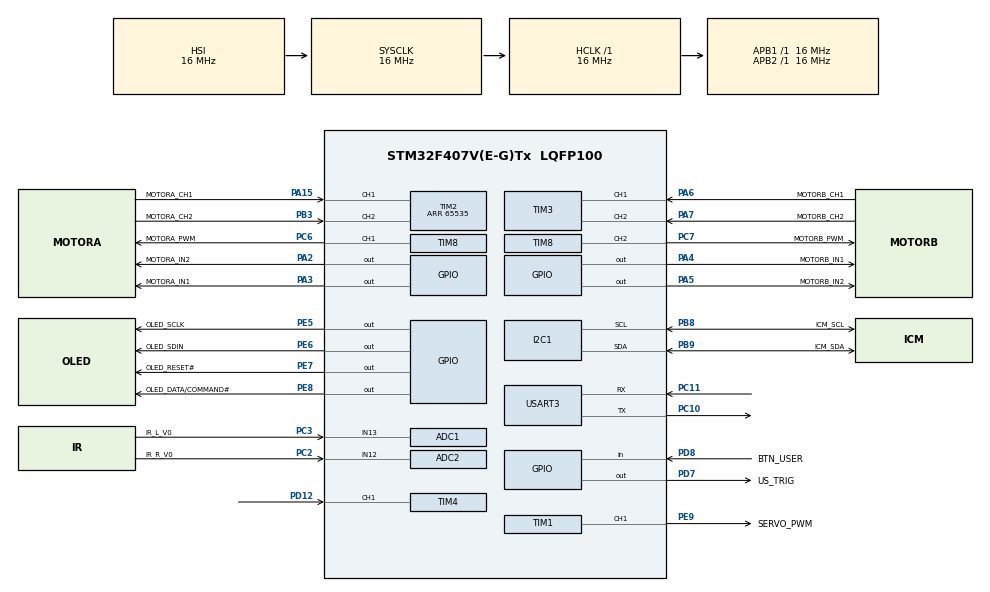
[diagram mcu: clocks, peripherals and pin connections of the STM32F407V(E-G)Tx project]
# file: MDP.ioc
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ADC1.Channel-0\#ChannelRegularConversion=ADC_CHANNEL_13
ADC1.ContinuousConvMode=ENABLE
ADC1.NbrOfConversion=1
ADC1.NbrOfConversionFlag=1
ADC1.Rank-0\#ChannelRegularConversion=1
ADC1.Resolution=ADC_RESOLUTION_12B
ADC1.SamplingTime-0\#ChannelRegularConversion=ADC_SAMPLETIME_3CYCLES
ADC1.ScanConvMode=DISABLE
ADC1.master=1
ADC2.Channel-1\#ChannelRegularConversion=ADC_CHANNEL_12
ADC2.NbrOfConversionFlag=1
ADC2.Rank-1\#ChannelRegularConversion=1
ADC2.SamplingTime-1\#ChannelRegularConversion=ADC_SAMPLETIME_3CYCLES
I2C1.I2C_Mode=I2C_Fast
I2C1.NoStretchMode=I2C_NOSTRETCH_DISABLE
Mcu.Family=STM32F4
Mcu.Name=STM32F407V(E-G)Tx
Mcu.Package=LQFP100
NVIC.ADC_IRQn=true\:0\:0\:false\:false\:true\:true\:true\:true
NVIC.PriorityGroup=NVIC_PRIORITYGROUP_4
NVIC.TIM1_CC_IRQn=true\:0\:0\:false\:false\:true\:true\:true\:true
NVIC.TIM4_IRQn=true\:0\:0\:false\:false\:true\:true\:true\:true
NVIC.TIM7_IRQn=true\:0\:0\:false\:false\:true\:true\:true\:true
NVIC.USART3_IRQn=true\:0\:0\:false\:false\:true\:true\:true\:true
PA13.Signal=SYS_JTMS-SWDIO
PA14.Signal=SYS_JTCK-SWCLK
PA15.GPIO_Label=MOTORA_CH1
PA15.Signal=S_TIM2_CH1_ETR
PA2.GPIO_Label=MOTORA_IN2
PA2.Signal=GPIO_Output
PA3.GPIO_Label=MOTORA_IN1
PA3.Signal=GPIO_Output
PA4.GPIO_Label=MOTORB_IN1
PA4.Signal=GPIO_Output
PA5.GPIO_Label=MOTORB_IN2
PA5.Signal=GPIO_Output
PA6.GPIO_Label=MOTORB_CH1
PA6.Signal=S_TIM3_CH1
PA7.GPIO_Label=MOTORB_CH2
PA7.Signal=S_TIM3_CH2
PB3.GPIO_Label=MOTORA_CH2
PB3.Signal=S_TIM2_CH2
PB8.GPIO_Label=ICM_SCL
PB8.Mode=I2C
PB8.Signal=I2C1_SCL
PB9.GPIO_Label=ICM_SDA
PB9.Mode=I2C
PB9.Signal=I2C1_SDA
PC10.Mode=Asynchronous
PC10.Signal=USART3_TX
PC11.Mode=Asynchronous
PC11.Signal=USART3_RX
PC2.GPIO_Label=IR_R_V0
PC2.Signal=ADCx_IN12
PC3.GPIO_Label=IR_L_V0
PC3.Signal=ADCx_IN13
PC6.GPIO_Label=MOTORA_PWM
PC6.Signal=S_TIM8_CH1
PC7.GPIO_Label=MOTORB_PWM
PC7.Signal=S_TIM8_CH2
PD12.Signal=S_TIM4_CH1
PD7.GPIO_Label=US_TRIG
PD7.Signal=GPIO_Output
PD8.GPIO_Label=BTN_USER
PD8.GPIO_PuPd=GPIO_PULLUP
PD8.Signal=GPIO_Input
PE5.GPIO_Label=OLED_SCLK
PE5.Signal=GPIO_Output
PE6.GPIO_Label=OLED_SDIN
PE6.Signal=GPIO_Output
PE7.GPIO_Label=OLED_RESET\#
PE7.Signal=GPIO_Output
PE8.GPIO_Label=OLED_DATA/COMMAND\#
PE8.Signal=GPIO_Output
PE9.GPIO_Label=SERVO_PWM
PE9.Signal=S_TIM1_CH1
ProjectManager.HeapSize=0x200
ProjectManager.StackSize=0x400
ProjectManager.TargetToolchain=STM32CubeIDE
RCC.AHBFreq_Value=16000000
RCC.APB1Freq_Value=16000000
RCC.APB2Freq_Value=16000000
RCC.APB2TimFreq_Value=16000000
RCC.CortexFreq_Value=16000000
RCC.HSE_VALUE=25000000
RCC.HSI_VALUE=16000000
RCC.LSE_VALUE=32768
RCC.SYSCLKFreq_VALUE=16000000
RCC.VCOOutputFreq_Value=192000000
SH.ADCx_IN12.0=ADC2_IN12,IN12
SH.ADCx_IN13.0=ADC1_IN13,IN13
SH.S_TIM1_CH1.0=TIM1_CH1,PWM Generation1 CH1
SH.S_TIM2_CH1_ETR.0=TIM2_CH1,Encoder_Interface
SH.S_TIM2_CH2.0=TIM2_CH2,Encoder_Interface
SH.S_TIM3_CH1.0=TIM3_CH1,Encoder_Interface
SH.S_TIM3_CH2.0=TIM3_CH2,Encoder_Interface
SH.S_TIM4_CH1.0=TIM4_CH1,Input_Capture1_from_TI1
SH.S_TIM8_CH1.0=TIM8_CH1,PWM Generation1 CH1
SH.S_TIM8_CH2.0=TIM8_CH2,PWM Generation2 CH2
TIM1.Channel-PWM\ Generation1\ CH1=TIM_CHANNEL_1
TIM1.CounterMode=TIM_COUNTERMODE_UP
TIM1.OCMode_PWM-PWM\ Generation1\ CH1=TIM_OCMODE_PWM1
TIM1.Period=64000-1
TIM1.Prescaler=5-1
TIM2.EncoderMode=TIM_ENCODERMODE_TI12
TIM2.IC1Polarity=TIM_ICPOLARITY_RISING
TIM2.IC2Polarity=TIM_ICPOLARITY_RISING
TIM2.Period=65535
TIM3.EncoderMode=TIM_ENCODERMODE_TI12
TIM3.IC1Filter=0
TIM3.IC1Polarity=TIM_ICPOLARITY_RISING
TIM3.IC2Filter=0
TIM3.IC2Polarity=TIM_ICPOLARITY_RISING
TIM4.Channel-Input_Capture1_from_TI1=TIM_CHANNEL_1
TIM4.Period=65536-1
TIM4.Prescaler=16-1
TIM6.Period=65536-1
TIM6.Prescaler=16-1
TIM7.Period=16000-1
TIM7.Prescaler=2-1
TIM8.Channel-PWM\ Generation1\ CH1=TIM_CHANNEL_1
TIM8.Channel-PWM\ Generation2\ CH2=TIM_CHANNEL_2
TIM8.Period=7200-1
USART3.VirtualMode=VM_ASYNC
VP_TIM1_VS_ClockSourceINT.Mode=Internal
VP_TIM4_VS_ClockSourceINT.Mode=Internal
VP_TIM6_VS_ClockSourceINT.Mode=Enable_Timer
VP_TIM7_VS_ClockSourceINT.Mode=Enable_Timer
VP_TIM8_VS_ClockSourceINT.Mode=Internal
board=custom

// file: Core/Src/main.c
/* USER CODE BEGIN Header */
/**
  ******************************************************************************
  * @file           : main.c
  * @brief          : Main program body
  ******************************************************************************
  * @attention
  *
  * Copyright (c) 2024 STMicroelectronics.
  * All rights reserved.
  *
  * This software is licensed under terms that can be found in the LICENSE file
  * in the root directory of this software component.
  * If no LICENSE file comes with this software, it is provided AS-IS.
  *
  ******************************************************************************
  */
/* USER CODE END Header */
#include "main.h"

/* USER CODE BEGIN Includes */
#include <stdlib.h>
#include <math.h>
#include "convert.h"
#include "commands.h"
#include "dist.h"
#include "angle.h"
#include "delay_us.h"
#include "oled.h"
#include "sensors.h"
#include "motor.h"
#include "servo.h"
/* USER CODE END Includes */

/* USER CODE BEGIN PD */
//8MHz / 16000 = 2.0ms frame.
#define MS_FRAME 2.0f
#define SERIAL_BUF_SIZE 20
#define SERIAL_RING_SIZE 1000
#define DIST_DIFF_DEFAULT 50
#define BRAKE_SPEED 20
#define TICKS_ES_MAX 8
/* USER CODE END PD */

ADC_HandleTypeDef hadc1;
ADC_HandleTypeDef hadc2;

I2C_HandleTypeDef hi2c1;

TIM_HandleTypeDef htim1;
TIM_HandleTypeDef htim2;
TIM_HandleTypeDef htim3;
TIM_HandleTypeDef htim4;
TIM_HandleTypeDef htim6;
TIM_HandleTypeDef htim7;
TIM_HandleTypeDef htim8;

UART_HandleTypeDef huart3;

/* USER CODE BEGIN PV */
//sensors variables.
Sensors sensors;
MagCalParams magCalParams;

//serial buffers.
volatile uint16_t ring_i = 0, track_i = 0;
uint16_t buf_i = 0;

uint8_t buf_serial[SERIAL_BUF_SIZE];
uint8_t ring_serial[SERIAL_RING_SIZE];

//ultrasound pulse width measurement.
volatile uint8_t isRisingCaptured = 0;
volatile uint8_t usCaptureComplete = 0;
volatile uint16_t usWrap = 0;
volatile uint32_t counter;

//paced loop.
volatile uint8_t newTick = 0;
/* USER CODE END PV */

void SystemClock_Config(void);
static void MX_GPIO_Init(void);
static void MX_USART3_UART_Init(void);
static void MX_I2C1_Init(void);
static void MX_TIM8_Init(void);
static void MX_TIM2_Init(void);
static void MX_TIM3_Init(void);
static void MX_TIM1_Init(void);
static void MX_TIM4_Init(void);
static void MX_ADC1_Init(void);
static void MX_TIM6_Init(void);
static void MX_TIM7_Init(void);
static void MX_ADC2_Init(void);

/* USER CODE BEGIN 0 */

//increment index in a ring.
static void serial_inc_ring(volatile uint16_t *i) {
	*i = (*i + 1) % SERIAL_RING_SIZE;
}

//serial in.
void HAL_UART_RxCpltCallback(UART_HandleTypeDef *huart) {
	serial_inc_ring(&ring_i);
	HAL_UART_Receive_IT(&huart3, &ring_serial[ring_i], 1);
}

/* --- Start: Timer Management --- */
void HAL_TIM_PeriodElapsedCallback(TIM_HandleTypeDef *htim) {
	if (htim == &htim4) {
		usWrap++;
	}

	else if (htim == &htim7) {
		newTick = 1;
	}
}
void HAL_TIM_IC_CaptureCallback(TIM_HandleTypeDef *htim) {
	if (htim != &htim4) return;

	if (!isRisingCaptured) {
		//rising edge
		usCaptureComplete = 0;

		usWrap = 0;
		__HAL_TIM_SET_COUNTER(htim, 0);

		isRisingCaptured = 1;
		__HAL_TIM_SET_CAPTUREPOLARITY(htim, US_IC_CHANNEL, TIM_INPUTCHANNELPOLARITY_FALLING);
	} else {
		//falling edge
		counter = HAL_TIM_ReadCapturedValue(htim, US_IC_CHANNEL);
		counter += usWrap * 65536;
		sensors_read_usDist((float) counter * 1e-6);

		isRisingCaptured = 0;
		__HAL_TIM_SET_CAPTUREPOLARITY(htim, US_IC_CHANNEL, TIM_INPUTCHANNELPOLARITY_RISING);

		usCaptureComplete = 1;
	}
}
/* --- End: Timer Management --- */

/* USER CODE END 0 */

int main(void)
{

  /* MCU Configuration--------------------------------------------------------*/

  /* Reset of all peripherals, Initializes the Flash interface and the Systick. */
  HAL_Init();

  /* Configure the system clock */
  SystemClock_Config();

  /* Initialize all configured peripherals */
  MX_GPIO_Init();
  MX_USART3_UART_Init();
  MX_I2C1_Init();
  MX_TIM8_Init();
  MX_TIM2_Init();
  MX_TIM3_Init();
  MX_TIM1_Init();
  MX_TIM4_Init();
  MX_ADC1_Init();
  MX_TIM6_Init();
  MX_TIM7_Init();
  MX_ADC2_Init();
  /* USER CODE BEGIN 2 */

  /* ----- Start: Initialize libraries ----- */
  OLED_Init();												//initialize OLED display.
  magcal_init(&hi2c1, &magCalParams);						//initialize magnetometer calibration.
  sensors_init(&hi2c1, &hadc1, &hadc2, &htim4, &sensors); 	//initialize motion sensors.
  motor_init(&htim8, &htim2, &htim3); 						//initialize motor PWM and encoders.
  servo_init(&htim1); 										//initialize servo PWM.
  delay_us_init(&htim6);									//initialize us timer.

  dist_init();												//initialize distance tracking.
  /* ----- End: Initialize libraries ----- */

  /* ----- Start: Car setup ----- */
//  magcal_calc_params();

  //reset car.
  servo_setAngle(0);
  motor_setDrive(0, 0);

//  OLED_ShowString(0, 0, "Press USER when ready...");
//  OLED_Refresh_Gram();
//  while (!user_is_pressed());	//wait for user to place car.
  HAL_Delay(500);
  OLED_Clear();
  OLED_ShowString(0, 0, "Calibrating...");
  OLED_Refresh_Gram();

  sensors_set_bias(500); 		// set initial bias.

  OLED_ShowString(0, 0, "Calibration done.");
  OLED_Refresh_Gram();

  /* ----- End: Car setup ----- */

  /* ----- Start: OS Parameters ----- */
  //ticking for longer timing requirements for ultrasound, and servo turning.
  uint8_t ticksElapsed = 0,
		  ticksUsElapsed = 0,
		  ticksUs = (uint8_t) (US_MIN_DELAY / MS_FRAME) + 1,
		  ticksServo = (uint8_t) (SERVO_TURN_PERIOD / MS_FRAME),
		  ticksServoFull = (uint8_t) (SERVO_TURN_PERIOD * SERVO_WIDTH / SERVO_TURN_STEP) / MS_FRAME,
		  ticksMotor = (uint8_t) (MOTOR_CORRECTION_PERIOD / MS_FRAME),
		  ticksRefresh = lcm_uint8(lcm_uint8(ticksUs, ticksServo), ticksMotor),
		  ticksDelay = ticksServoFull - 1;

  //ticking for error stabilization.
  uint8_t ticksES = 0;

  Command *cmd = NULL;							//current command.
  float steeringAngle = 0;						//current steering angle.
  float motorDist = 0, estDist = 0,
		  estAngle = 0,
		  estDistOld = 0; 						//distance estimations.

  //for distance tracking (for use with INFO_DIST command).
  float distTrack = 0;
  uint8_t shouldTrackDist = 0;

  float distTarget = 0;							//decide distance target.
  float distDiff = 0, brakingDist = 0; 			//current distance difference.
  float distDiffOld = 0;						//track old distance difference (to see if stationary).
  float wDiff = 0, wTarget = 0;					//current angular velocity difference and target.
  float rBack = 0, rRobot = 0;					//turning radii at the back and centre of robot.
  /* ----- End: OS Parameters ----- */

  /* ----- Start: Interrupts ----- */
  HAL_UART_Receive_IT(&huart3, &ring_serial[ring_i], 1);	//start receiving serial.
  HAL_TIM_Base_Start_IT(&htim7);							//start paced loop timer.
  /* ----- End: Interrupts ----- */

  OLED_Clear();
  OLED_ShowString(0, 0, "Active.");
  OLED_Refresh_Gram();

  /* USER CODE END 2 */

  /* Infinite loop */
  while (1)
  {

    /* USER CODE BEGIN 3 */
	/* ----- Start: Sensor reading ----- */
	//trigger distance measurement.
	if (!(ticksElapsed % ticksUs)) {
		sensors_us_trig();
	}

	sensors_read_accel();
	sensors_read_gyroZ();
	sensors_read_irDist();
	/* ----- End: Sensor reading ----- */

	/* ----- Start: Get next command (if any) ----- */
	if (cmd == NULL) {
		if (!ticksDelay) {
			cmd = commands_pop();

			if (cmd != NULL) {
				//perform command setup based on
				switch (cmd->opType) {
					case DRIVE:
						estDistOld = 0;
						estAngle = 0;
						motor_setDrive(cmd->dir, cmd->speed);
						if (cmd->dir != 0) {
							distTarget = cmd->val;
							distDiff = DIST_DIFF_DEFAULT;
							brakingDist = (cmd->distType == TARGET
								? MOTOR_BRAKING_DIST_CM_TARGET
								: MOTOR_BRAKING_DIST_CM_AWAY
							) * cmd->speed / 100;

							steeringAngle = cmd->steeringAngle;
							servo_setAngle(steeringAngle);
							if (steeringAngle != 0) {
								rBack = get_turning_r_back_cm(steeringAngle);
								rRobot = get_turning_r_robot_cm(steeringAngle);
								if (cmd->distType == TARGET) {
									distTarget = abs_float(get_arc_length(cmd->val, rBack));
								}
							} else {
								rBack = 0;
								rRobot = 0;
								wTarget = 0;
							}
						} else {
							commands_end(&huart3, cmd);
							cmd = NULL;
						}
						break;

					case INFO_DIST:
						shouldTrackDist = !shouldTrackDist;
						if (shouldTrackDist) {
							distTrack = 0;
						} else {
							//write distance tracked into string.
							free(cmd->str);
							cmd->str_size = 8; //D<6.2f>\n = 8 characters
							cmd->str = malloc(cmd->str_size * sizeof(uint8_t));
							snprintf(cmd->str, cmd->str_size, "D%6.2f\n", distTrack);
						}

						commands_end(&huart3, cmd);
						cmd = NULL;
						break;
				}
			}
		} else {
			Command *peek = commands_peek_next_drive();
			if (peek != NULL) {
				servo_setAngle(peek->steeringAngle);
				if (ticksDelay > 0) ticksDelay--;
			}
		}
	}

	/* ----- End: Get next command (if any) ----- */

	/* ----- Start: Command Control Loop ----- */
	if (cmd != NULL && cmd->dir != 0) {
		//calculate distance.
		motorDist = motor_getDist();
		estDist = cmd->dir * dist_get_cm(MS_FRAME, sensors.accel[1], motorDist);

		//estimate current speed.
		float estSpeed = (estDist - estDistOld) / MS_FRAME;
		estDistOld = estDist;

		//calculate difference in angular velocity.
		float wGyro;
		wGyro = cmd->dir * sensors.gyroZ;

		if (rBack != 0) {
			wTarget = get_w_ms(estSpeed, rBack);
		}
		else wTarget = 0;
		wDiff = (wGyro - wTarget); //gyro is flipped when going backwards.

		float angleChange = wGyro * MS_FRAME;
		if (cmd->steeringAngle < 0) angleChange = -angleChange;
		estAngle += angleChange;

		distDiffOld = distDiff;
		switch (cmd->distType) {
			case TARGET:
				if (rBack != 0) {
					distDiff = get_arc_length(cmd->val - estAngle, abs_float(rBack));
				} else {
					distDiff = distTarget - estDist;
				}
				break;
			case STOP_AWAY:
				if (usCaptureComplete) {
					distDiff = (sensors.usDist - cmd->val) * cmd->dir;
				}
				break;
			case STOP_L:
			case STOP_R:
				uint8_t i = cmd->distType == STOP_L ? 0 : 1;
				float irVal = sensors.irDist[i];
				float cmdVal = cmd->val;
				if (cmdVal < 0) {
					cmdVal = -cmdVal;
					distDiff = irVal > cmdVal ? DIST_DIFF_DEFAULT : 0;
				} else {
					distDiff = irVal < cmdVal ? DIST_DIFF_DEFAULT : 0;
				}
				break;
			default:
				distDiff = DIST_DIFF_DEFAULT;
				break;
		}

		Command *next = commands_peek_next_drive();
		if (next != NULL) {
			if (commands_type_match(cmd, next)) {
				//absorb next command into current command.
				next = commands_pop();

				switch (next->distType) {
					case TARGET:
						cmd->val += next->val;
						break;
					case STOP_AWAY:
						cmd->val = next->val;
						break;
				}

				commands_end(&huart3, next);
				next = commands_peek_next_drive();
			}
		}

		float nextAngle = next != NULL ? next->steeringAngle : 0;
		float nextAngleDiff = abs_float(nextAngle - cmd->steeringAngle);
		uint8_t shouldBrake = cmd->distType == STOP_AWAY
				? 1
				: next != NULL
				? next->dir != cmd->dir
//					|| next->dir < 0 //avoid smooth turning while reversing.
					|| nextAngleDiff > SERVO_WIDTH
				: 1;
		uint8_t turnSpeed = next != NULL ? min_uint8(BRAKE_SPEED, next->speed) : BRAKE_SPEED;

		//motor correction.
		motor_pwmCorrection(
			wDiff, rBack, distDiff,
			brakingDist, cmd->distType,
			shouldBrake ? 0 : turnSpeed
		);

		float timeLeft = estSpeed > 0 ? distDiff / estSpeed : 1e10;

		uint8_t shouldEnd = 0;
		if (!shouldBrake && !(ticksElapsed % ticksServo)) {
			//turn a small angle every SERVO_TURN_PERIOD ms.
			float diff = abs_float(steeringAngle - next->steeringAngle);
			if (diff < 0.01) shouldEnd = 1;
			else if (timeLeft < (SERVO_TURN_PERIOD) * (diff / SERVO_TURN_STEP)) {
				//should increment.
				float step = min_float(SERVO_TURN_STEP, diff);
				if (nextAngle < steeringAngle) step = -step;
				steeringAngle += step;
				servo_setAngle(steeringAngle);

				if (diff < SERVO_TURN_STEP) {
					shouldEnd = 1;
				}
			}
		}

		float absDistDiff = abs_float(distDiff),
				absDistDiffChange = abs_float(distDiff - distDiffOld);

		if (shouldEnd || absDistDiff < 0.05 || (shouldBrake && absDistDiff < 1.0 && absDistDiffChange < 0.25)) {
			//check for stabilization (if not in continuous motion).
			if (shouldEnd || !shouldBrake || ++ticksES >= TICKS_ES_MAX) {
				//target achieved; move to next command.
				ticksES = 0;
				commands_end(&huart3, cmd);
				cmd = NULL;

				servo_setAngle(nextAngle);
				if (shouldBrake) {
					ticksDelay = (SERVO_TURN_PERIOD / MS_FRAME) * (abs_float(nextAngle - steeringAngle) / SERVO_TURN_STEP);
					motor_setDrive(0, 0);
					dist_reset(0);
				} else dist_reset(estSpeed);

				//add estimated travel distance to tracking distance (if tracked).
				if (shouldTrackDist) distTrack += estDist;
			}
		} else {
			ticksES = 0;
		}
	}
	/* ----- End: Command Control Loop ----- */

	/* ----- Start: Paced Loop Control ----- */
	while (!newTick) {									//wait for new tick.
		/* ----- Start: Process Ring Buffer ----- */
		/* We use the down time for paced looping to process commands. */
		if (track_i != ring_i) {
			uint8_t c = ring_serial[track_i];
			buf_serial[buf_i++] = c;
			if (c == CMD_END) {
				uint8_t *temp = buf_serial;
//				float angle = parse_float_until(&temp, CMD_END, 4);
//				servo_setAngle(angle);
				commands_process(&huart3, buf_serial, buf_i);
				buf_i = 0;
			}

			serial_inc_ring(&track_i);
		}
		/* ----- End: Process Ring Buffer ----- */
	}
	newTick = 0;										//acknowledge flag.

	ticksElapsed = (ticksElapsed + 1) % ticksRefresh;	//refresh tick count.
	/* ----- End: Paced Loop Control ----- */
  }
  /* USER CODE END 3 */
}

void SystemClock_Config(void)
{
  RCC_OscInitTypeDef RCC_OscInitStruct = {0};
  RCC_ClkInitTypeDef RCC_ClkInitStruct = {0};

  /** Configure the main internal regulator output voltage
  */
  __HAL_RCC_PWR_CLK_ENABLE();
  __HAL_PWR_VOLTAGESCALING_CONFIG(PWR_REGULATOR_VOLTAGE_SCALE1);

  /** Initializes the RCC Oscillators according to the specified parameters
  * in the RCC_OscInitTypeDef structure.
  */
  RCC_OscInitStruct.OscillatorType = RCC_OSCILLATORTYPE_HSI;
  RCC_OscInitStruct.HSIState = RCC_HSI_ON;
  RCC_OscInitStruct.HSICalibrationValue = RCC_HSICALIBRATION_DEFAULT;
  RCC_OscInitStruct.PLL.PLLState = RCC_PLL_NONE;
  if (HAL_RCC_OscConfig(&RCC_OscInitStruct) != HAL_OK)
  {
    Error_Handler();
  }

  /** Initializes the CPU, AHB and APB buses clocks
  */
  RCC_ClkInitStruct.ClockType = RCC_CLOCKTYPE_HCLK|RCC_CLOCKTYPE_SYSCLK
                              |RCC_CLOCKTYPE_PCLK1|RCC_CLOCKTYPE_PCLK2;
  RCC_ClkInitStruct.SYSCLKSource = RCC_SYSCLKSOURCE_HSI;
  RCC_ClkInitStruct.AHBCLKDivider = RCC_SYSCLK_DIV1;
  RCC_ClkInitStruct.APB1CLKDivider = RCC_HCLK_DIV1;
  RCC_ClkInitStruct.APB2CLKDivider = RCC_HCLK_DIV1;

  if (HAL_RCC_ClockConfig(&RCC_ClkInitStruct, FLASH_LATENCY_0) != HAL_OK)
  {
    Error_Handler();
  }
}

static void MX_ADC1_Init(void)
{

  ADC_ChannelConfTypeDef sConfig = {0};

  /** Configure the global features of the ADC (Clock, Resolution, Data Alignment and number of conversion)
  */
  hadc1.Instance = ADC1;
  hadc1.Init.ClockPrescaler = ADC_CLOCK_SYNC_PCLK_DIV2;
  hadc1.Init.Resolution = ADC_RESOLUTION_12B;
  hadc1.Init.ScanConvMode = DISABLE;
  hadc1.Init.ContinuousConvMode = ENABLE;
  hadc1.Init.DiscontinuousConvMode = DISABLE;
  hadc1.Init.ExternalTrigConvEdge = ADC_EXTERNALTRIGCONVEDGE_NONE;
  hadc1.Init.ExternalTrigConv = ADC_SOFTWARE_START;
  hadc1.Init.DataAlign = ADC_DATAALIGN_RIGHT;
  hadc1.Init.NbrOfConversion = 1;
  hadc1.Init.DMAContinuousRequests = DISABLE;
  hadc1.Init.EOCSelection = ADC_EOC_SINGLE_CONV;
  if (HAL_ADC_Init(&hadc1) != HAL_OK)
  {
    Error_Handler();
  }

  /** Configure for the selected ADC regular channel its corresponding rank in the sequencer and its sample time.
  */
  sConfig.Channel = ADC_CHANNEL_13;
  sConfig.Rank = 1;
  sConfig.SamplingTime = ADC_SAMPLETIME_3CYCLES;
  if (HAL_ADC_ConfigChannel(&hadc1, &sConfig) != HAL_OK)
  {
    Error_Handler();
  }

}

static void MX_ADC2_Init(void)
{

  ADC_ChannelConfTypeDef sConfig = {0};

  /** Configure the global features of the ADC (Clock, Resolution, Data Alignment and number of conversion)
  */
  hadc2.Instance = ADC2;
  hadc2.Init.ClockPrescaler = ADC_CLOCK_SYNC_PCLK_DIV2;
  hadc2.Init.Resolution = ADC_RESOLUTION_12B;
  hadc2.Init.ScanConvMode = DISABLE;
  hadc2.Init.ContinuousConvMode = DISABLE;
  hadc2.Init.DiscontinuousConvMode = DISABLE;
  hadc2.Init.ExternalTrigConvEdge = ADC_EXTERNALTRIGCONVEDGE_NONE;
  hadc2.Init.ExternalTrigConv = ADC_SOFTWARE_START;
  hadc2.Init.DataAlign = ADC_DATAALIGN_RIGHT;
  hadc2.Init.NbrOfConversion = 1;
  hadc2.Init.DMAContinuousRequests = DISABLE;
  hadc2.Init.EOCSelection = ADC_EOC_SINGLE_CONV;
  if (HAL_ADC_Init(&hadc2) != HAL_OK)
  {
    Error_Handler();
  }

  /** Configure for the selected ADC regular channel its corresponding rank in the sequencer and its sample time.
  */
  sConfig.Channel = ADC_CHANNEL_12;
  sConfig.Rank = 1;
  sConfig.SamplingTime = ADC_SAMPLETIME_3CYCLES;
  if (HAL_ADC_ConfigChannel(&hadc2, &sConfig) != HAL_OK)
  {
    Error_Handler();
  }

}

static void MX_I2C1_Init(void)
{

  hi2c1.Instance = I2C1;
  hi2c1.Init.ClockSpeed = 400000;
  hi2c1.Init.DutyCycle = I2C_DUTYCYCLE_2;
  hi2c1.Init.OwnAddress1 = 0;
  hi2c1.Init.AddressingMode = I2C_ADDRESSINGMODE_7BIT;
  hi2c1.Init.DualAddressMode = I2C_DUALADDRESS_DISABLE;
  hi2c1.Init.OwnAddress2 = 0;
  hi2c1.Init.GeneralCallMode = I2C_GENERALCALL_DISABLE;
  hi2c1.Init.NoStretchMode = I2C_NOSTRETCH_DISABLE;
  if (HAL_I2C_Init(&hi2c1) != HAL_OK)
  {
    Error_Handler();
  }

}

static void MX_TIM1_Init(void)
{

  TIM_ClockConfigTypeDef sClockSourceConfig = {0};
  TIM_MasterConfigTypeDef sMasterConfig = {0};
  TIM_OC_InitTypeDef sConfigOC = {0};
  TIM_BreakDeadTimeConfigTypeDef sBreakDeadTimeConfig = {0};

  htim1.Instance = TIM1;
  htim1.Init.Prescaler = 5-1;
  htim1.Init.CounterMode = TIM_COUNTERMODE_UP;
  htim1.Init.Period = 64000-1;
  htim1.Init.ClockDivision = TIM_CLOCKDIVISION_DIV1;
  htim1.Init.RepetitionCounter = 0;
  htim1.Init.AutoReloadPreload = TIM_AUTORELOAD_PRELOAD_DISABLE;
  if (HAL_TIM_Base_Init(&htim1) != HAL_OK)
  {
    Error_Handler();
  }
  sClockSourceConfig.ClockSource = TIM_CLOCKSOURCE_INTERNAL;
  if (HAL_TIM_ConfigClockSource(&htim1, &sClockSourceConfig) != HAL_OK)
  {
    Error_Handler();
  }
  if (HAL_TIM_PWM_Init(&htim1) != HAL_OK)
  {
    Error_Handler();
  }
  sMasterConfig.MasterOutputTrigger = TIM_TRGO_RESET;
  sMasterConfig.MasterSlaveMode = TIM_MASTERSLAVEMODE_DISABLE;
  if (HAL_TIMEx_MasterConfigSynchronization(&htim1, &sMasterConfig) != HAL_OK)
  {
    Error_Handler();
  }
  sConfigOC.OCMode = TIM_OCMODE_PWM1;
  sConfigOC.Pulse = 0;
  sConfigOC.OCPolarity = TIM_OCPOLARITY_HIGH;
  sConfigOC.OCNPolarity = TIM_OCNPOLARITY_HIGH;
  sConfigOC.OCFastMode = TIM_OCFAST_DISABLE;
  sConfigOC.OCIdleState = TIM_OCIDLESTATE_RESET;
  sConfigOC.OCNIdleState = TIM_OCNIDLESTATE_RESET;
  if (HAL_TIM_PWM_ConfigChannel(&htim1, &sConfigOC, TIM_CHANNEL_1) != HAL_OK)
  {
    Error_Handler();
  }
  sBreakDeadTimeConfig.OffStateRunMode = TIM_OSSR_DISABLE;
  sBreakDeadTimeConfig.OffStateIDLEMode = TIM_OSSI_DISABLE;
  sBreakDeadTimeConfig.LockLevel = TIM_LOCKLEVEL_OFF;
  sBreakDeadTimeConfig.DeadTime = 0;
  sBreakDeadTimeConfig.BreakState = TIM_BREAK_DISABLE;
  sBreakDeadTimeConfig.BreakPolarity = TIM_BREAKPOLARITY_HIGH;
  sBreakDeadTimeConfig.AutomaticOutput = TIM_AUTOMATICOUTPUT_DISABLE;
  if (HAL_TIMEx_ConfigBreakDeadTime(&htim1, &sBreakDeadTimeConfig) != HAL_OK)
  {
    Error_Handler();
  }
  HAL_TIM_MspPostInit(&htim1);

}

static void MX_TIM2_Init(void)
{

  TIM_Encoder_InitTypeDef sConfig = {0};
  TIM_MasterConfigTypeDef sMasterConfig = {0};

  htim2.Instance = TIM2;
  htim2.Init.Prescaler = 0;
  htim2.Init.CounterMode = TIM_COUNTERMODE_UP;
  htim2.Init.Period = 65535;
  htim2.Init.ClockDivision = TIM_CLOCKDIVISION_DIV1;
  htim2.Init.AutoReloadPreload = TIM_AUTORELOAD_PRELOAD_DISABLE;
  sConfig.EncoderMode = TIM_ENCODERMODE_TI12;
  sConfig.IC1Polarity = TIM_ICPOLARITY_RISING;
  sConfig.IC1Selection = TIM_ICSELECTION_DIRECTTI;
  sConfig.IC1Prescaler = TIM_ICPSC_DIV1;
  sConfig.IC1Filter = 0;
  sConfig.IC2Polarity = TIM_ICPOLARITY_RISING;
  sConfig.IC2Selection = TIM_ICSELECTION_DIRECTTI;
  sConfig.IC2Prescaler = TIM_ICPSC_DIV1;
  sConfig.IC2Filter = 0;
  if (HAL_TIM_Encoder_Init(&htim2, &sConfig) != HAL_OK)
  {
    Error_Handler();
  }
  sMasterConfig.MasterOutputTrigger = TIM_TRGO_RESET;
  sMasterConfig.MasterSlaveMode = TIM_MASTERSLAVEMODE_DISABLE;
  if (HAL_TIMEx_MasterConfigSynchronization(&htim2, &sMasterConfig) != HAL_OK)
  {
    Error_Handler();
  }

}

static void MX_TIM3_Init(void)
{

  TIM_Encoder_InitTypeDef sConfig = {0};
  TIM_MasterConfigTypeDef sMasterConfig = {0};

  htim3.Instance = TIM3;
  htim3.Init.Prescaler = 0;
  htim3.Init.CounterMode = TIM_COUNTERMODE_UP;
  htim3.Init.Period = 65535;
  htim3.Init.ClockDivision = TIM_CLOCKDIVISION_DIV1;
  htim3.Init.AutoReloadPreload = TIM_AUTORELOAD_PRELOAD_DISABLE;
  sConfig.EncoderMode = TIM_ENCODERMODE_TI12;
  sConfig.IC1Polarity = TIM_ICPOLARITY_RISING;
  sConfig.IC1Selection = TIM_ICSELECTION_DIRECTTI;
  sConfig.IC1Prescaler = TIM_ICPSC_DIV1;
  sConfig.IC1Filter = 0;
  sConfig.IC2Polarity = TIM_ICPOLARITY_RISING;
  sConfig.IC2Selection = TIM_ICSELECTION_DIRECTTI;
  sConfig.IC2Prescaler = TIM_ICPSC_DIV1;
  sConfig.IC2Filter = 0;
  if (HAL_TIM_Encoder_Init(&htim3, &sConfig) != HAL_OK)
  {
    Error_Handler();
  }
  sMasterConfig.MasterOutputTrigger = TIM_TRGO_RESET;
  sMasterConfig.MasterSlaveMode = TIM_MASTERSLAVEMODE_DISABLE;
  if (HAL_TIMEx_MasterConfigSynchronization(&htim3, &sMasterConfig) != HAL_OK)
  {
    Error_Handler();
  }

}

static void MX_TIM4_Init(void)
{

  TIM_ClockConfigTypeDef sClockSourceConfig = {0};
  TIM_MasterConfigTypeDef sMasterConfig = {0};
  TIM_IC_InitTypeDef sConfigIC = {0};

  htim4.Instance = TIM4;
  htim4.Init.Prescaler = 16-1;
  htim4.Init.CounterMode = TIM_COUNTERMODE_UP;
  htim4.Init.Period = 65536-1;
  htim4.Init.ClockDivision = TIM_CLOCKDIVISION_DIV1;
  htim4.Init.AutoReloadPreload = TIM_AUTORELOAD_PRELOAD_DISABLE;
  if (HAL_TIM_Base_Init(&htim4) != HAL_OK)
  {
    Error_Handler();
  }
  sClockSourceConfig.ClockSource = TIM_CLOCKSOURCE_INTERNAL;
  if (HAL_TIM_ConfigClockSource(&htim4, &sClockSourceConfig) != HAL_OK)
  {
    Error_Handler();
  }
  if (HAL_TIM_IC_Init(&htim4) != HAL_OK)
  {
    Error_Handler();
  }
  sMasterConfig.MasterOutputTrigger = TIM_TRGO_RESET;
  sMasterConfig.MasterSlaveMode = TIM_MASTERSLAVEMODE_DISABLE;
  if (HAL_TIMEx_MasterConfigSynchronization(&htim4, &sMasterConfig) != HAL_OK)
  {
    Error_Handler();
  }
  sConfigIC.ICPolarity = TIM_INPUTCHANNELPOLARITY_RISING;
  sConfigIC.ICSelection = TIM_ICSELECTION_DIRECTTI;
  sConfigIC.ICPrescaler = TIM_ICPSC_DIV1;
  sConfigIC.ICFilter = 0;
  if (HAL_TIM_IC_ConfigChannel(&htim4, &sConfigIC, TIM_CHANNEL_1) != HAL_OK)
  {
    Error_Handler();
  }

}

static void MX_TIM6_Init(void)
{

  TIM_MasterConfigTypeDef sMasterConfig = {0};

  htim6.Instance = TIM6;
  htim6.Init.Prescaler = 16-1;
  htim6.Init.CounterMode = TIM_COUNTERMODE_UP;
  htim6.Init.Period = 65536-1;
  htim6.Init.AutoReloadPreload = TIM_AUTORELOAD_PRELOAD_DISABLE;
  if (HAL_TIM_Base_Init(&htim6) != HAL_OK)
  {
    Error_Handler();
  }
  sMasterConfig.MasterOutputTrigger = TIM_TRGO_RESET;
  sMasterConfig.MasterSlaveMode = TIM_MASTERSLAVEMODE_DISABLE;
  if (HAL_TIMEx_MasterConfigSynchronization(&htim6, &sMasterConfig) != HAL_OK)
  {
    Error_Handler();
  }

}

static void MX_TIM7_Init(void)
{

  TIM_MasterConfigTypeDef sMasterConfig = {0};

  htim7.Instance = TIM7;
  htim7.Init.Prescaler = 2-1;
  htim7.Init.CounterMode = TIM_COUNTERMODE_UP;
  htim7.Init.Period = 16000-1;
  htim7.Init.AutoReloadPreload = TIM_AUTORELOAD_PRELOAD_DISABLE;
  if (HAL_TIM_Base_Init(&htim7) != HAL_OK)
  {
    Error_Handler();
  }
  sMasterConfig.MasterOutputTrigger = TIM_TRGO_RESET;
  sMasterConfig.MasterSlaveMode = TIM_MASTERSLAVEMODE_DISABLE;
  if (HAL_TIMEx_MasterConfigSynchronization(&htim7, &sMasterConfig) != HAL_OK)
  {
    Error_Handler();
  }

}

static void MX_TIM8_Init(void)
{

  TIM_ClockConfigTypeDef sClockSourceConfig = {0};
  TIM_MasterConfigTypeDef sMasterConfig = {0};
  TIM_OC_InitTypeDef sConfigOC = {0};
  TIM_BreakDeadTimeConfigTypeDef sBreakDeadTimeConfig = {0};

  htim8.Instance = TIM8;
  htim8.Init.Prescaler = 0;
  htim8.Init.CounterMode = TIM_COUNTERMODE_UP;
  htim8.Init.Period = 7200-1;
  htim8.Init.ClockDivision = TIM_CLOCKDIVISION_DIV1;
  htim8.Init.RepetitionCounter = 0;
  htim8.Init.AutoReloadPreload = TIM_AUTORELOAD_PRELOAD_DISABLE;
  if (HAL_TIM_Base_Init(&htim8) != HAL_OK)
  {
    Error_Handler();
  }
  sClockSourceConfig.ClockSource = TIM_CLOCKSOURCE_INTERNAL;
  if (HAL_TIM_ConfigClockSource(&htim8, &sClockSourceConfig) != HAL_OK)
  {
    Error_Handler();
  }
  if (HAL_TIM_PWM_Init(&htim8) != HAL_OK)
  {
    Error_Handler();
  }
  sMasterConfig.MasterOutputTrigger = TIM_TRGO_RESET;
  sMasterConfig.MasterSlaveMode = TIM_MASTERSLAVEMODE_DISABLE;
  if (HAL_TIMEx_MasterConfigSynchronization(&htim8, &sMasterConfig) != HAL_OK)
  {
    Error_Handler();
  }
  sConfigOC.OCMode = TIM_OCMODE_PWM1;
  sConfigOC.Pulse = 0;
  sConfigOC.OCPolarity = TIM_OCPOLARITY_HIGH;
  sConfigOC.OCNPolarity = TIM_OCNPOLARITY_HIGH;
  sConfigOC.OCFastMode = TIM_OCFAST_DISABLE;
  sConfigOC.OCIdleState = TIM_OCIDLESTATE_RESET;
  sConfigOC.OCNIdleState = TIM_OCNIDLESTATE_RESET;
  if (HAL_TIM_PWM_ConfigChannel(&htim8, &sConfigOC, TIM_CHANNEL_1) != HAL_OK)
  {
    Error_Handler();
  }
  if (HAL_TIM_PWM_ConfigChannel(&htim8, &sConfigOC, TIM_CHANNEL_2) != HAL_OK)
  {
    Error_Handler();
  }
  sBreakDeadTimeConfig.OffStateRunMode = TIM_OSSR_DISABLE;
  sBreakDeadTimeConfig.OffStateIDLEMode = TIM_OSSI_DISABLE;
  sBreakDeadTimeConfig.LockLevel = TIM_LOCKLEVEL_OFF;
  sBreakDeadTimeConfig.DeadTime = 0;
  sBreakDeadTimeConfig.BreakState = TIM_BREAK_DISABLE;
  sBreakDeadTimeConfig.BreakPolarity = TIM_BREAKPOLARITY_HIGH;
  sBreakDeadTimeConfig.AutomaticOutput = TIM_AUTOMATICOUTPUT_DISABLE;
  if (HAL_TIMEx_ConfigBreakDeadTime(&htim8, &sBreakDeadTimeConfig) != HAL_OK)
  {
    Error_Handler();
  }
  HAL_TIM_MspPostInit(&htim8);

}

static void MX_USART3_UART_Init(void)
{

  huart3.Instance = USART3;
  huart3.Init.BaudRate = 115200;
  huart3.Init.WordLength = UART_WORDLENGTH_8B;
  huart3.Init.StopBits = UART_STOPBITS_1;
  huart3.Init.Parity = UART_PARITY_NONE;
  huart3.Init.Mode = UART_MODE_TX_RX;
  huart3.Init.HwFlowCtl = UART_HWCONTROL_NONE;
  huart3.Init.OverSampling = UART_OVERSAMPLING_16;
  if (HAL_UART_Init(&huart3) != HAL_OK)
  {
    Error_Handler();
  }

}

static void MX_GPIO_Init(void)
{
  GPIO_InitTypeDef GPIO_InitStruct = {0};

  /* GPIO Ports Clock Enable */
  __HAL_RCC_GPIOE_CLK_ENABLE();
  __HAL_RCC_GPIOC_CLK_ENABLE();
  __HAL_RCC_GPIOA_CLK_ENABLE();
  __HAL_RCC_GPIOD_CLK_ENABLE();
  __HAL_RCC_GPIOB_CLK_ENABLE();

  /*Configure GPIO pin Output Level */
  HAL_GPIO_WritePin(GPIOE, OLED_SCLK_Pin|OLED_SDIN_Pin|OLED_RESET__Pin|OLED_DATA_COMMAND__Pin, GPIO_PIN_RESET);

  /*Configure GPIO pin Output Level */
  HAL_GPIO_WritePin(GPIOA, MOTORA_IN2_Pin|MOTORA_IN1_Pin|MOTORB_IN1_Pin|MOTORB_IN2_Pin, GPIO_PIN_RESET);

  /*Configure GPIO pin Output Level */
  HAL_GPIO_WritePin(US_TRIG_GPIO_Port, US_TRIG_Pin, GPIO_PIN_RESET);

  /*Configure GPIO pins : OLED_SCLK_Pin OLED_SDIN_Pin OLED_RESET__Pin OLED_DATA_COMMAND__Pin */
  GPIO_InitStruct.Pin = OLED_SCLK_Pin|OLED_SDIN_Pin|OLED_RESET__Pin|OLED_DATA_COMMAND__Pin;
  GPIO_InitStruct.Mode = GPIO_MODE_OUTPUT_PP;
  GPIO_InitStruct.Pull = GPIO_NOPULL;
  GPIO_InitStruct.Speed = GPIO_SPEED_FREQ_LOW;
  HAL_GPIO_Init(GPIOE, &GPIO_InitStruct);

  /*Configure GPIO pins : MOTORA_IN2_Pin MOTORA_IN1_Pin MOTORB_IN1_Pin MOTORB_IN2_Pin */
  GPIO_InitStruct.Pin = MOTORA_IN2_Pin|MOTORA_IN1_Pin|MOTORB_IN1_Pin|MOTORB_IN2_Pin;
  GPIO_InitStruct.Mode = GPIO_MODE_OUTPUT_PP;
  GPIO_InitStruct.Pull = GPIO_NOPULL;
  GPIO_InitStruct.Speed = GPIO_SPEED_FREQ_LOW;
  HAL_GPIO_Init(GPIOA, &GPIO_InitStruct);

  /*Configure GPIO pin : BTN_USER_Pin */
  GPIO_InitStruct.Pin = BTN_USER_Pin;
  GPIO_InitStruct.Mode = GPIO_MODE_INPUT;
  GPIO_InitStruct.Pull = GPIO_PULLUP;
  HAL_GPIO_Init(BTN_USER_GPIO_Port, &GPIO_InitStruct);

  /*Configure GPIO pin : US_TRIG_Pin */
  GPIO_InitStruct.Pin = US_TRIG_Pin;
  GPIO_InitStruct.Mode = GPIO_MODE_OUTPUT_PP;
  GPIO_InitStruct.Pull = GPIO_NOPULL;
  GPIO_InitStruct.Speed = GPIO_SPEED_FREQ_LOW;
  HAL_GPIO_Init(US_TRIG_GPIO_Port, &GPIO_InitStruct);

}

void Error_Handler(void)
{
  __disable_irq();
  while (1)
  {
  }
}
